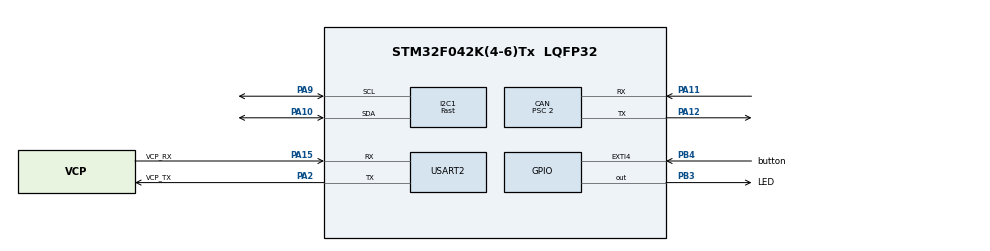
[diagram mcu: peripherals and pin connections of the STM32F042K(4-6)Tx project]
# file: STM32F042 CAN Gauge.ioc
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CAN.BS1=CAN_BS1_3TQ
CAN.BS2=CAN_BS2_4TQ
CAN.CalculateBaudRate=500000
CAN.CalculateTimeBit=2000.00
CAN.CalculateTimeQuantum=250.0
CAN.Prescaler=2
I2C1.I2C_Speed_Mode=I2C_Fast
I2C1.Timing=0x0000020B
Mcu.Family=STM32F0
Mcu.Name=STM32F042K(4-6)Tx
Mcu.Package=LQFP32
NVIC.CEC_CAN_IRQn=true\:0\:0\:false\:false\:true\:true\:true
NVIC.EXTI4_15_IRQn=true\:0\:0\:false\:false\:true\:true\:true
PA10.Mode=I2C
PA10.Signal=I2C1_SDA
PA11.Mode=CAN_Activate
PA11.Signal=CAN_RX
PA12.Mode=CAN_Activate
PA12.Signal=CAN_TX
PA13.GPIO_Label=SWDIO
PA13.Mode=Serial_Wire
PA13.Signal=SYS_SWDIO
PA14.GPIO_Label=SWCLK
PA14.Mode=Serial_Wire
PA14.Signal=SYS_SWCLK
PA15.GPIO_Label=VCP_RX
PA15.Mode=Asynchronous
PA15.Signal=USART2_RX
PA2.GPIO_Label=VCP_TX
PA2.Mode=Asynchronous
PA2.Signal=USART2_TX
PA9.Mode=I2C
PA9.Signal=I2C1_SCL
PB3.GPIO_Label=LED
PB3.Signal=GPIO_Output
PB4.GPIO_Label=button
PB4.GPIO_ModeDefaultEXTI=GPIO_MODE_IT_FALLING
PB4.GPIO_PuPd=GPIO_PULLUP
PB4.Signal=GPXTI4
PF0-OSC_IN.GPIO_Label=MCO
PF0-OSC_IN.Mode=HSE-External-Clock-Source
PF0-OSC_IN.Signal=RCC_OSC_IN
ProjectManager.HeapSize=0x200
ProjectManager.StackSize=0x400
ProjectManager.TargetToolchain=STM32CubeIDE
USART2.VirtualMode-Asynchronous=VM_ASYNC
board=NUCLEO-F042K6

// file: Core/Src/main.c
/* USER CODE BEGIN Header */
/**
  ******************************************************************************
  * @file           : main.c
  * @brief          : Main program body
  ******************************************************************************
  * @attention
  *
  * <h2><center>&copy; Copyright (c) 2021 STMicroelectronics.
  * All rights reserved.</center></h2>
  *
  * This software component is licensed by ST under BSD 3-Clause license,
  * the "License"; You may not use this file except in compliance with the
  * License. You may obtain a copy of the License at:
  *                        opensource.org/licenses/BSD-3-Clause
  *
  ******************************************************************************
  */
/* USER CODE END Header */
#include "main.h"

/* USER CODE BEGIN Includes */
#include "ssd1306.h"
#include <stdbool.h>
#include <stdio.h>
/* USER CODE END Includes */

CAN_HandleTypeDef hcan;

I2C_HandleTypeDef hi2c1;

UART_HandleTypeDef huart2;

/* USER CODE BEGIN PV */

CAN_RxHeaderTypeDef rxHeader; 			//CAN Bus recieve header
uint8_t canRX[8] = {0,0,0,0,0,0,0,0};  	//CAN Bus Receive Buffer
CAN_FilterTypeDef canfilter; 			//CAN Bus Filter

// Format for data
// intVal    - 	Integer Value
// decVal    - 	Decimal Value
// scale     -  Inverse of scale, Ex : 0.002 = 200
// decScale  - 	Use to select decimal places, Ex : 10 will remove last digit, 100 -> up to 2 places
// max		 -	Maximum value for graph
// min		 - 	value for graph
// val		 -  Received value

struct rxData{
	int intVal, decVal, scale, decScale, max, min, val;
	int intMax, intMin, decMax, decMin, valMin, valMax;
};

struct minMaxData{
	int  intMax, intMin, decMax, decMin, valMin, valMax;
};

//[int] [dec] [scale] [dec scale] [max] [min] [val]
struct rxData afr = {0,0,1000,100,22,8,0};
struct rxData rpm = {0,0,1,1,7000,50,0};
struct rxData clt = {0,0,1,1,60,250,0};
struct rxData iat = {0,0,1,1,60,250,0};
struct rxData accel = {0,0,100,1,0,100,0};
struct rxData tps1 = {0,0,100,1,0,100,0};
struct rxData tps2 = {0,0,100,1,0,100,0};
struct rxData map = {0,0,300,100,0,100,0};
struct rxData timing = {0,0,200,100,0,50,0};
struct rxData injDuty = {0,0,200,1,0,100,0};
struct rxData battery = {0,0,1000,100,0,16,0};

struct minMaxData storedMinMax = {0 , 0, 0, 0, 0, 0};

// User button
int currentMs = 0;
int lastMs = 0;
int btnDebounce = 250;
int btnPress = 0;

// Gauges, adjust current for starting
int currentGauge = 0;
int totalNumGauge = 4;

//Test data
int b[] = {0,0,0,0,0,0,0};

// CAN IDs for Filters
const int filterID[] = {(512), (513), (514), (515), (516), (517)};
int currentFilter = 4;

int rxID;
int msgRXstatus = 0;
char buff[16];

int pMin = 0xFFFF;
int pMax = 0;
int p;
int vMax;
int vMin;
int lastTimeMax;
int lastTimeMin;
int lastTimeMaxP;
int lastTimeMinP;
int timerMinMax = 3500;

int lastCanMessage = 0;
int canWaitTime = 2000;

/* USER CODE END PV */

void SystemClock_Config(void);
static void MX_GPIO_Init(void);
static void MX_USART2_UART_Init(void);
static void MX_I2C1_Init(void);
static void MX_CAN_Init(void);

/* USER CODE BEGIN 0 */
void HAL_CAN_RxFifo0MsgPendingCallback(CAN_HandleTypeDef *hcan1){
	// Receive CAN message interrupt
	HAL_CAN_GetRxMessage(hcan1, CAN_RX_FIFO0, &rxHeader, canRX);
	HAL_GPIO_TogglePin(GPIOB, GPIO_PIN_3);
	msgRXstatus = 1;
	rxID = rxHeader.StdId;
}

void EXTI4_15_IRQHandler(){
	// Push button interrupt
	currentMs = HAL_GetTick();
	 if ((currentMs - lastMs > btnDebounce))
	  {
	    lastMs = currentMs;
	    btnPress=1;
	  }
	 HAL_GPIO_EXTI_IRQHandler(GPIO_PIN_4);
}

void canFilterInit(int hiID, int loID){
  	canfilter.FilterBank = 0;
  	canfilter.FilterMode = CAN_FILTERMODE_IDLIST;
  	canfilter.FilterFIFOAssignment = CAN_RX_FIFO0;
  	canfilter.FilterIdHigh = hiID<<5;
  	canfilter.FilterIdLow = loID<<5;
  	canfilter.FilterMaskIdHigh = 0;
  	canfilter.FilterMaskIdLow = 0;
  	canfilter.FilterScale = CAN_FILTERSCALE_32BIT;
  	canfilter.FilterActivation = ENABLE;
  	canfilter.SlaveStartFilterBank = 1;
  	HAL_CAN_ConfigFilter(&hcan,&canfilter);
}

int byte2Data(int b1, int b2){
	// combine two bytes into a single value
	uint32_t sensorVal = (canRX[b1] << 8)|(canRX[b2]);
	return sensorVal;
}

int getIntValue(struct rxData* data){
	 // Get the integer value
	 // Multiply by the inverse of the scale
	 data->intVal = data->val / data->scale;
	 return data->intVal;
}

int getDecValue(struct rxData* data){

	 // Get the decimal value
	 // Subtract the int value from the total
	 // Multiply by the inverse of the scale
	 // Scale and multiply to get number of desired decimal places
	 data->decVal = ((data->val  - (data->intVal*data->scale)) * (data->decScale)/(data->scale));
	 return data->decVal;
}

void getData(){

	switch(rxID){

	case (511):
		// Get test data
		 b[0] = canRX[0];
		 b[1] = canRX[1];
		 b[2] = canRX[2];
		 b[3] = canRX[3];
		 b[4] = canRX[4];
		 b[5] = canRX[5];
		 b[6] = canRX[6];
		 b[7] = canRX[7];

	case 512 :
		break;

	case 513 :
		rpm.val = byte2Data(1,0);		//RPM
		timing.val = byte2Data(3,2);	//Timing deg
		injDuty.val = byte2Data(4,5);	//Injector Duty %
		break;

	case 514 :
		tps1.val = byte2Data(3,2);		//TPS1 %
		break;

	case 515 :
		map.val = byte2Data(1,0);		//MAP kPa
		clt.val = canRX[2];				//Coolant Temp C
		iat.val = canRX[3];				//Intake Temp C
		break;

	case 516 :
		afr.val = byte2Data(1,0);		//AFR
		battery.val = byte2Data(7,6);	//Battery V
		break;

	case 517 :
		break;

	}
}

void printText( char* text, int X, int Y){
	// Set cursor and print 11x18 text
	ssd1306_SetCursor(X, Y);
	ssd1306_WriteString(text, Font_11x18, White);

}

void printTextLarge( char* text, int X, int Y){
	// Set cursor and print 16x26 text
	ssd1306_SetCursor(X, Y);
	ssd1306_WriteString(text, Font_11x18, White);

}

void printTextSmall( char* text, int X, int Y){
	// Set cursor and print 7x10 text
	ssd1306_SetCursor(X, Y);
	ssd1306_WriteString(text, Font_7x10, White);

}

void printDataDigitalLarge(struct rxData * data, int X, int Y){
	// Set cursor x/y location and print the selected data
	// If decimal value is 0 it will not be printed
	// This will print the maximum stored value
	ssd1306_SetCursor(X, Y);
	if (data->decVal > 0){
		snprintf(buff, sizeof(buff), "%d.%d", data->intVal,data->decVal);
		ssd1306_WriteString(buff, Font_16x26, White);
	}

	else {
		snprintf(buff, sizeof(buff), "%d", data->intVal);
		ssd1306_WriteString(buff, Font_16x26, White);
	}

}

void printDataDigital(struct rxData * data, int X, int Y){
	// Set cursor x/y location and print the selected data
	// If decimal value is 0 it will not be printed
	// This will print the maximum stored value
	ssd1306_SetCursor(X, Y);
	if (data->decVal > 0){
		snprintf(buff, sizeof(buff), "%d.%d", data->intVal,data->decVal);
		ssd1306_WriteString(buff, Font_11x18, White);
	}

	else {
		snprintf(buff, sizeof(buff), "%d", data->intVal);
		ssd1306_WriteString(buff, Font_11x18, White);
	}

}

void printDataDigitalSmall(struct rxData * data, int X, int Y){
	// Set cursor x/y location and print the selected data
	// If decimal value is 0 it will not be printed
	// This will print the current stored value
	ssd1306_SetCursor(X, Y);
	if (data->decVal > 0){
		snprintf(buff, sizeof(buff), "%d.%d", data->intVal,data->decVal);
		ssd1306_WriteString(buff, Font_7x10, White);
	}

	else {
		snprintf(buff, sizeof(buff), "%d", data->intVal);
		ssd1306_WriteString(buff, Font_7x10, White);
	}

}

void printDataMin(struct rxData * data, int X, int Y){
	// Set cursor x/y location and print the selected data
	// If decimal value is 0 it will not be printed
	// This will print the minimum stored value
	ssd1306_SetCursor(X, Y);
	if (data->decMin > 0){
		snprintf(buff, sizeof(buff), "%d.%d", data->intMin,data->decMin);
		ssd1306_WriteString(buff, Font_7x10, White);
	}

	else {
		snprintf(buff, sizeof(buff), "%d", data->intMin);
		ssd1306_WriteString(buff, Font_7x10, White);
	}

}

void printDataMax(struct rxData * data, int X, int Y){
	// Set cursor x/y location and print the selected data
	// If decimal value is 0 it will not be printed
	// This will print the maximum stored value
	ssd1306_SetCursor(X, Y);
	if (data->decMax > 0){
		snprintf(buff, sizeof(buff), "%d.%d", data->intMax,data->decMax);
		ssd1306_WriteString(buff, Font_7x10, White);
	}

	else {
		snprintf(buff, sizeof(buff), "%d", data->intMax);
		ssd1306_WriteString(buff, Font_7x10, White);
	}

}

void printValueSmall(int data, int X, int Y){
	ssd1306_SetCursor(X, Y);
	snprintf(buff, sizeof(buff), "%d", data);
			ssd1306_WriteString(buff, Font_7x10, White);
}

void printBarGraph(int X, int Y, int height, int width, int progress, int boarder){

	// Draw bar graph
	// setup location, provide a progress percent 0 -> 100, and a boarder spacing for the fill

	ssd1306_SetCursor(X,Y);

	//Draw boarder
	// Top
	for (int x = X; x<(X + width); x++){
		int y = Y;
		ssd1306_DrawPixel(x,y,White);
	}
	// Bottom
	for (int x =X; x<(X + width); x++){
		int y = Y + height;
		ssd1306_DrawPixel(x,y,White);
	}
	// Left
	for (int y = Y; y< (Y + height); y++){
		int x = X;
		ssd1306_DrawPixel(x,y,White);
	}
	// Right
	for (int y = Y; y<(Y + height); y++){
		int x = X + width;
		ssd1306_DrawPixel(x,y,White);
	}

	// Draw Fill
	for (int y = (Y+boarder); y<((Y + height)-boarder); y++){
		for (int x = (X+boarder) ; x< (((X + width)-boarder)*progress/100); x++){
			ssd1306_DrawPixel(x,y,White);
		}
	}
}

void printBarMinMax(int X, int Y, int height, int width, int min, int max){

	// Setup x location to draw max marker then draw a vertical line
	// width should be the same as the bar graph, but height can vary to extend beyond the bar graph boarder
	int x = (X+width)*max/100;
	for (int y = (Y- height); y< (Y + height); y++){
		ssd1306_DrawPixel(x,y,White);
	}

	// Setup x location to draw min marker then draw a vertical line
	x = (X+width)*min/100;
	for  (int y = (Y-height); y< (Y + height); y++){
			ssd1306_DrawPixel(x,y,White);
		}
}

int getPercent(struct rxData *data){
	// This returns a percentage of the current value vs the set limits for the data

	// Offset current and max values by min, then divide by the max to get the percentage
	int p = ((data->val-(data->min*data->scale))*100);
	p = p / ((data->max - data->min)*data->scale);

	// Limit percentage to 0 -> 100
	if (p > 100){
		p = 100;
	}
	if (p < 0){
		p = 0;
	}

	return p;
}

void getMinMax(struct rxData *data){
	// This stores the current minimum value and updates if necessary

	// Using the set time interval, set the current min/max so that the current value is the new min/max
	int currentTime = HAL_GetTick();
	 if (((currentTime - lastTimeMin) > timerMinMax)){
		lastTimeMin = currentTime;
		data->valMin = 0xFFFF;
		data->valMax = 0;
	}

	 // Update min/max if current value is exceeded
	if (data->val < data->valMin){
		data->valMin = data->val;
		data->intMin = data->val / data->scale;
		data->decMin = ((data->val  - (data->intVal*data->scale)) * (data->decScale)/(data->scale));
	}

	// Update min/max if current value is exceeded
	if (data->val > data->valMax){
		data->valMax = data->val;
		data->intMax = data->val / data->scale;
		data->decMax = ((data->val  - (data->intVal*data->scale)) * (data->decScale)/(data->scale));
	}
}

void printStartup(){

	ssd1306_Fill(Black);
	printText("CAN 500k",5,05);
	printText("Base ID 512 ",5,25);
	printText("Waiting ...",5,45);
	ssd1306_UpdateScreen();

}

void getPercentMinMax(int p, int *min, int *max){
	// This stores the current minimum percent value and updates if necessary

	// Using the set time interval, set the current min/max so that the current value is the new min/max
	int currentTime = HAL_GetTick();
	if (((currentTime - lastTimeMinP) > timerMinMax)){
		 lastTimeMinP = currentTime;
		 *min = 999;
		 *max = 0;
	}
	// Update min/max if current value is exceeded
	if (p < *min){
		*min = p;
	}
	if (p > *max){
		*max = p;
		}

}

void updateGauge(int gaugePrint){

	//Setup CAN filter with address for desired data
	//Print specified data to the display

	ssd1306_Fill(Black);
	switch (gaugePrint){

	case 0 : // Basic AFR
		currentFilter = 4;
		getIntValue(&afr);
		getDecValue(&afr);
		printText("AFR",5,2);
		printDataDigitalLarge(&afr,5,30);
		ssd1306_UpdateScreen();
		break;

	case 1 : // AFR with bar graph and min/max
		currentFilter = 4;
		getIntValue(&afr);
		getDecValue(&afr);
		getMinMax(&afr);
		p = getPercent(&afr);
		getPercentMinMax(p,&pMin,&pMax);
		printBarGraph(5,0,10,120,p,2);
		printBarMinMax(5,0,20,120,pMin,pMax);
		printTextSmall("AFR",2,45);
		printDataMin(&afr,2,25);
		printDataMax(&afr,2,35);

		printDataDigitalLarge(&afr,40,30);
		ssd1306_UpdateScreen();
		break;

	case 2 : // Basic RPM
		currentFilter = 1;
		getIntValue(&rpm);
		getDecValue(&rpm);
		printText("RPM",5,2);
		printDataDigitalLarge(&rpm,5,30);
		ssd1306_UpdateScreen();
		break;

	case 3 :
		currentFilter = 1;
		getIntValue(&rpm);
		getDecValue(&rpm);
		getMinMax(&rpm);
		p = getPercent(&rpm);
		getPercentMinMax(p,&pMin,&pMax);

		printBarGraph(5,0,10,120,p,2);
		printBarMinMax(5,0,20,120,pMin,pMax);
		printTextSmall("RPM",2,45);
		printDataMin(&rpm,2,25);
		printDataMax(&rpm,2,35);
		printDataDigitalLarge(&rpm,40,30);
		ssd1306_UpdateScreen();
		break;

	default : // If no gauge is available print something
		ssd1306_SetCursor(5, 30);
		ssd1306_WriteString("No Data", Font_11x18, White);
		ssd1306_SetCursor(5, 0);
		snprintf(buff, sizeof(buff), "%d", currentGauge);
		ssd1306_WriteString(buff, Font_11x18, White);
		ssd1306_UpdateScreen();
		break;

	}
}

/* USER CODE END 0 */

int main(void)
{

  /* MCU Configuration--------------------------------------------------------*/

  /* Reset of all peripherals, Initializes the Flash interface and the Systick. */
  HAL_Init();

  /* Configure the system clock */
  SystemClock_Config();

  /* Initialize all configured peripherals */
  MX_GPIO_Init();
  MX_USART2_UART_Init();
  MX_I2C1_Init();
  MX_CAN_Init();
  /* USER CODE BEGIN 2 */

	// Setup CAN
	canFilterInit(filterID[currentFilter], filterID[currentFilter]);
	HAL_CAN_Start(&hcan);
	HAL_CAN_ActivateNotification(&hcan,CAN_IT_RX_FIFO0_MSG_PENDING);

	// Initialize Display and clear
	ssd1306_Init();
	printStartup();

  /* USER CODE END 2 */

  /* Infinite loop */
  while (1)
  {

    /* USER CODE BEGIN 3 */

	// Print current gauge to display

	 if (lastCanMessage > 0 && ((HAL_GetTick() - lastCanMessage) > canWaitTime)){
		 	ssd1306_Fill(Black);
		 	printTextLarge("Lost CAN",5,5);
		 	printTextLarge("Connection",5,20);
		 	printTextLarge("!!!!!!!",20,40);
		 	ssd1306_UpdateScreen();
	 }

	// Get data from received CAN message
	 if (msgRXstatus == 1){
		 getData();
		 msgRXstatus = 0;
		 updateGauge(currentGauge);
		 lastCanMessage = HAL_GetTick();
	 }

	 // Cycle gauges if the button was pressed
	 if (btnPress == 1){

		 btnPress = 0;
		 // Reset min/max on gauge change
		 lastTimeMax=0;
		 lastTimeMin=0;
		 lastTimeMaxP=0;
		 lastTimeMinP=0;

		 currentGauge++;
		 if (currentGauge > totalNumGauge){
			 currentGauge = 0;
		 }
		 updateGauge(currentGauge);
		 canFilterInit(filterID[currentFilter], filterID[currentFilter]);
	 }

  }
  /* USER CODE END 3 */
}

void SystemClock_Config(void)
{
  RCC_OscInitTypeDef RCC_OscInitStruct = {0};
  RCC_ClkInitTypeDef RCC_ClkInitStruct = {0};
  RCC_PeriphCLKInitTypeDef PeriphClkInit = {0};

  /** Initializes the RCC Oscillators according to the specified parameters
  * in the RCC_OscInitTypeDef structure.
  */
  RCC_OscInitStruct.OscillatorType = RCC_OSCILLATORTYPE_HSI;
  RCC_OscInitStruct.HSIState = RCC_HSI_ON;
  RCC_OscInitStruct.HSICalibrationValue = RCC_HSICALIBRATION_DEFAULT;
  RCC_OscInitStruct.PLL.PLLState = RCC_PLL_NONE;
  if (HAL_RCC_OscConfig(&RCC_OscInitStruct) != HAL_OK)
  {
    Error_Handler();
  }
  /** Initializes the CPU, AHB and APB buses clocks
  */
  RCC_ClkInitStruct.ClockType = RCC_CLOCKTYPE_HCLK|RCC_CLOCKTYPE_SYSCLK
                              |RCC_CLOCKTYPE_PCLK1;
  RCC_ClkInitStruct.SYSCLKSource = RCC_SYSCLKSOURCE_HSI;
  RCC_ClkInitStruct.AHBCLKDivider = RCC_SYSCLK_DIV1;
  RCC_ClkInitStruct.APB1CLKDivider = RCC_HCLK_DIV1;

  if (HAL_RCC_ClockConfig(&RCC_ClkInitStruct, FLASH_LATENCY_0) != HAL_OK)
  {
    Error_Handler();
  }
  PeriphClkInit.PeriphClockSelection = RCC_PERIPHCLK_I2C1;
  PeriphClkInit.I2c1ClockSelection = RCC_I2C1CLKSOURCE_HSI;
  if (HAL_RCCEx_PeriphCLKConfig(&PeriphClkInit) != HAL_OK)
  {
    Error_Handler();
  }
}

static void MX_CAN_Init(void)
{

  hcan.Instance = CAN;
  hcan.Init.Prescaler = 2;
  hcan.Init.Mode = CAN_MODE_NORMAL;
  hcan.Init.SyncJumpWidth = CAN_SJW_1TQ;
  hcan.Init.TimeSeg1 = CAN_BS1_3TQ;
  hcan.Init.TimeSeg2 = CAN_BS2_4TQ;
  hcan.Init.TimeTriggeredMode = DISABLE;
  hcan.Init.AutoBusOff = DISABLE;
  hcan.Init.AutoWakeUp = DISABLE;
  hcan.Init.AutoRetransmission = DISABLE;
  hcan.Init.ReceiveFifoLocked = DISABLE;
  hcan.Init.TransmitFifoPriority = DISABLE;
  if (HAL_CAN_Init(&hcan) != HAL_OK)
  {
    Error_Handler();
  }

}

static void MX_I2C1_Init(void)
{

  hi2c1.Instance = I2C1;
  hi2c1.Init.Timing = 0x0000020B;
  hi2c1.Init.OwnAddress1 = 0;
  hi2c1.Init.AddressingMode = I2C_ADDRESSINGMODE_7BIT;
  hi2c1.Init.DualAddressMode = I2C_DUALADDRESS_DISABLE;
  hi2c1.Init.OwnAddress2 = 0;
  hi2c1.Init.OwnAddress2Masks = I2C_OA2_NOMASK;
  hi2c1.Init.GeneralCallMode = I2C_GENERALCALL_DISABLE;
  hi2c1.Init.NoStretchMode = I2C_NOSTRETCH_DISABLE;
  if (HAL_I2C_Init(&hi2c1) != HAL_OK)
  {
    Error_Handler();
  }
  /** Configure Analogue filter
  */
  if (HAL_I2CEx_ConfigAnalogFilter(&hi2c1, I2C_ANALOGFILTER_ENABLE) != HAL_OK)
  {
    Error_Handler();
  }
  /** Configure Digital filter
  */
  if (HAL_I2CEx_ConfigDigitalFilter(&hi2c1, 0) != HAL_OK)
  {
    Error_Handler();
  }

}

static void MX_USART2_UART_Init(void)
{

  huart2.Instance = USART2;
  huart2.Init.BaudRate = 38400;
  huart2.Init.WordLength = UART_WORDLENGTH_8B;
  huart2.Init.StopBits = UART_STOPBITS_1;
  huart2.Init.Parity = UART_PARITY_NONE;
  huart2.Init.Mode = UART_MODE_TX_RX;
  huart2.Init.HwFlowCtl = UART_HWCONTROL_NONE;
  huart2.Init.OverSampling = UART_OVERSAMPLING_16;
  huart2.Init.OneBitSampling = UART_ONE_BIT_SAMPLE_DISABLE;
  huart2.AdvancedInit.AdvFeatureInit = UART_ADVFEATURE_NO_INIT;
  if (HAL_UART_Init(&huart2) != HAL_OK)
  {
    Error_Handler();
  }

}

static void MX_GPIO_Init(void)
{
  GPIO_InitTypeDef GPIO_InitStruct = {0};

  /* GPIO Ports Clock Enable */
  __HAL_RCC_GPIOF_CLK_ENABLE();
  __HAL_RCC_GPIOA_CLK_ENABLE();
  __HAL_RCC_GPIOB_CLK_ENABLE();

  /*Configure GPIO pin Output Level */
  HAL_GPIO_WritePin(LED_GPIO_Port, LED_Pin, GPIO_PIN_RESET);

  /*Configure GPIO pin : LED_Pin */
  GPIO_InitStruct.Pin = LED_Pin;
  GPIO_InitStruct.Mode = GPIO_MODE_OUTPUT_PP;
  GPIO_InitStruct.Pull = GPIO_NOPULL;
  GPIO_InitStruct.Speed = GPIO_SPEED_FREQ_LOW;
  HAL_GPIO_Init(LED_GPIO_Port, &GPIO_InitStruct);

  /*Configure GPIO pin : button_Pin */
  GPIO_InitStruct.Pin = button_Pin;
  GPIO_InitStruct.Mode = GPIO_MODE_IT_FALLING;
  GPIO_InitStruct.Pull = GPIO_PULLUP;
  HAL_GPIO_Init(button_GPIO_Port, &GPIO_InitStruct);

  /* EXTI interrupt init*/
  HAL_NVIC_SetPriority(EXTI4_15_IRQn, 0, 0);
  HAL_NVIC_EnableIRQ(EXTI4_15_IRQn);

}

void Error_Handler(void)
{
  __disable_irq();
  while (1)
  {
  }
}

/************************ (C) COPYRIGHT STMicroelectronics *****END OF FILE****/
